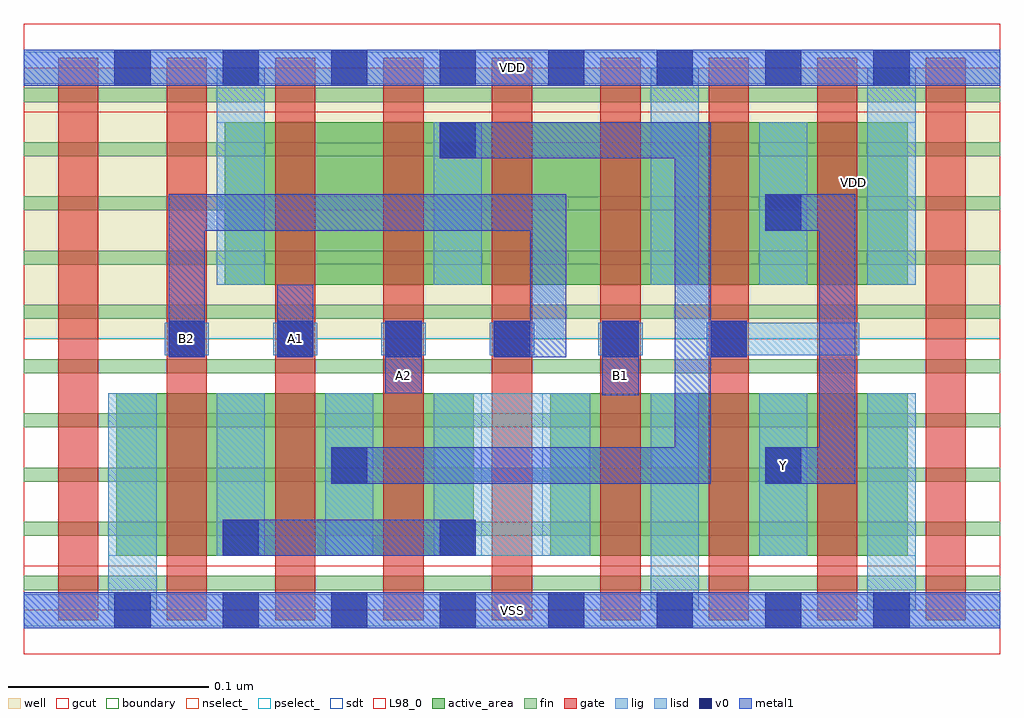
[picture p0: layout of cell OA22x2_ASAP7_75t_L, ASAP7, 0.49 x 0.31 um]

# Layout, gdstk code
import gdstk
lib = gdstk.Library(unit=1e-6, precision=2.5e-10)
def R(c, l, rs):  # rectangles x0, y0, x1, y1
    for r in rs: c.add(gdstk.rectangle(r[:2], r[2:], *l))
def A(c, l, x, y, w, h, nx, ny, dx, dy):  # array of equal rectangles
    R(c, l, [(x+i*dx, y+j*dy, x+i*dx+w, y+j*dy+h) for i in range(nx) for j in range(ny)])
def P(c, l, *ps):  # polygons
    for p in ps: c.add(gdstk.Polygon(p, *l))
well = (1, 0)
fin = (2, 0)
gate = (7, 0)
gcut = (10, 0)
active_area = (11, 0)
nselect_ = (12, 0)
pselect_ = (13, 0)
lig = (16, 0)
lisd = (17, 0)
v0 = (18, 0)
metal1 = (19, 0)
sdt = (88, 0)
L98_0 = (98, 0)
boundary = (100, 0)

oa22x2_asap7_75t_l = lib.new_cell('OA22x2_ASAP7_75t_L')
R(oa22x2_asap7_75t_l, well, [(0,0.135,0.486,0.27)])
A(oa22x2_asap7_75t_l, fin, 0, 0.01, 0.486, 0.007, 1, 10, 0, 0.027)
A(oa22x2_asap7_75t_l, gate, 0.017, -0.005, 0.02, 0.28, 9, 1, 0.054, 0)
R(oa22x2_asap7_75t_l, gcut, [(0,-0.022,0.486,0.022), (0,0.248,0.486,0.292)])
R(oa22x2_asap7_75t_l, active_area, [(0.046,0.027,0.224,0.108), (0.262,0.027,0.44,0.108), (0.1,0.162,0.44,0.243)])
R(oa22x2_asap7_75t_l, nselect_, [(0,0,0.486,0.135)])
R(oa22x2_asap7_75t_l, pselect_, [(0,0.135,0.486,0.27)])
A(oa22x2_asap7_75t_l, lig, 0.07, 0.127, 0.022, 0.016, 5, 1, 0.054, 0)
R(oa22x2_asap7_75t_l, lig, [(0,-0.008,0.486,0.008), (0.34,0.127,0.416,0.143), (0,0.262,0.486,0.278)])
R(oa22x2_asap7_75t_l, lisd, [(0.042,0,0.066,0.108), (0.312,0,0.336,0.108), (0.42,0,0.444,0.108), (0.096,0.027,0.12,0.108), (0.15,0.027,0.174,0.108), (0.204,0.027,0.282,0.108), (0.366,0.027,0.39,0.108), (0.096,0.162,0.12,0.27), (0.204,0.162,0.228,0.243), (0.312,0.162,0.336,0.27), (0.366,0.162,0.39,0.243), (0.42,0.162,0.444,0.27)])
A(oa22x2_asap7_75t_l, v0, 0.045, -0.009, 0.018, 0.018, 8, 2, 0.054, 0.27)
A(oa22x2_asap7_75t_l, v0, 0.072, 0.126, 0.018, 0.018, 6, 1, 0.054, 0)
R(oa22x2_asap7_75t_l, v0, [(0.099,0.027,0.117,0.045), (0.207,0.027,0.225,0.045), (0.153,0.063,0.171,0.081), (0.369,0.063,0.387,0.081), (0.369,0.189,0.387,0.207), (0.207,0.225,0.225,0.243)])
R(oa22x2_asap7_75t_l, metal1, [(0,-0.009,0.486,0.009), (0.099,0.027,0.225,0.045), (0.288,0.107,0.306,0.144), (0.18,0.108,0.198,0.144), (0.126,0.126,0.144,0.162), (0.207,0.225,0.342,0.243), (0,0.261,0.486,0.279)])
P(oa22x2_asap7_75t_l, metal1, [(0.369,0.063),(0.369,0.081),(0.396,0.081),(0.396,0.189),(0.369,0.189),(0.369,0.207),(0.414,0.207),(0.414,0.063)],
  [(0.153,0.063),(0.153,0.081),(0.324,0.081),(0.324,0.243),(0.342,0.243),(0.342,0.144),(0.36,0.144),(0.36,0.126),(0.342,0.126),(0.342,0.063)],
  [(0.072,0.126),(0.072,0.207),(0.27,0.207),(0.27,0.126),(0.234,0.126),(0.234,0.144),(0.252,0.144),(0.252,0.189),(0.09,0.189),(0.09,0.126)])
A(oa22x2_asap7_75t_l, sdt, 0.042, 0.027, 0.024, 0.081, 8, 1, 0.054, 0)
A(oa22x2_asap7_75t_l, sdt, 0.096, 0.162, 0.024, 0.081, 3, 1, 0.108, 0)
R(oa22x2_asap7_75t_l, sdt, [(0.366,0.162,0.39,0.243), (0.42,0.162,0.444,0.243)])
R(oa22x2_asap7_75t_l, L98_0, [(0,0,0.486,0.27)])
R(oa22x2_asap7_75t_l, boundary, [(0,0,0.486,0.27)])
oa22x2_asap7_75t_l.add(gdstk.Label('Y', (0.378,0.072), layer=19, texttype=251))
oa22x2_asap7_75t_l.add(gdstk.Label('B2', (0.081,0.135), layer=19, texttype=251))
oa22x2_asap7_75t_l.add(gdstk.Label('B1', (0.297,0.117), layer=19, texttype=251))
oa22x2_asap7_75t_l.add(gdstk.Label('A2', (0.189,0.117), layer=19, texttype=251))
oa22x2_asap7_75t_l.add(gdstk.Label('A1', (0.135,0.135), layer=19, texttype=251))
oa22x2_asap7_75t_l.add(gdstk.Label('VSS', (0.243,0), layer=19, texttype=251))
oa22x2_asap7_75t_l.add(gdstk.Label('VDD', (0.243,0.27), layer=19, texttype=251))
oa22x2_asap7_75t_l.add(gdstk.Label('VDD', (0.413,0.213), layer=1, texttype=251))
oa22x2_asap7_75t_l.add(gdstk.Label('VSS', (0.559,0.213), layer=3, texttype=251))

lib.write_gds('OA22x2_ASAP7_75t_L.gds')
